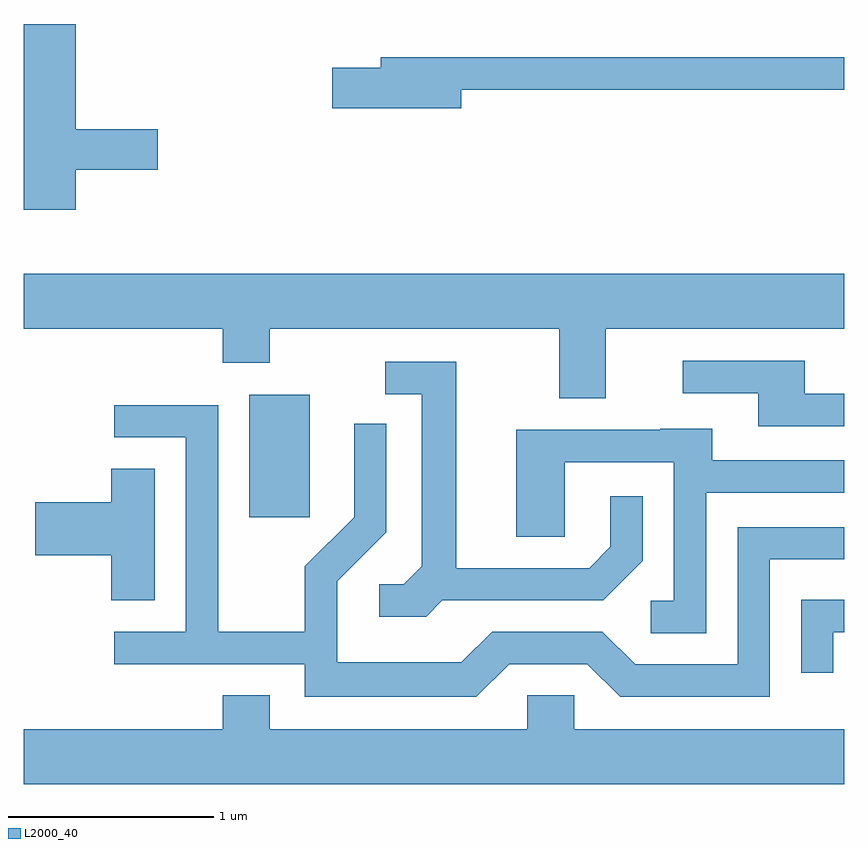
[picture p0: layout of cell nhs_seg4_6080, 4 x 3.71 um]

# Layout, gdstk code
import gdstk
lib = gdstk.Library(unit=1e-6, precision=1e-09)
def R(c, l, rs):  # rectangles x0, y0, x1, y1
    for r in rs: c.add(gdstk.rectangle(r[:2], r[2:], *l))
def P(c, l, *ps):  # polygons
    for p in ps: c.add(gdstk.Polygon(p, *l))
L2000_40 = (2000, 40)

nhs_seg4_6080 = lib.new_cell('nhs_seg4_6080')
R(nhs_seg4_6080, L2000_40, [(364.711,1311.576,365.004,1312.174)])
P(nhs_seg4_6080, L2000_40, [(363.864,1313.271),(364.264,1313.271),(364.264,1313.469),(363.864,1313.469),(363.864,1313.982),(363.611,1313.982),(363.611,1313.076),(363.864,1313.076)],
  [(365.744,1313.661),(367.611,1313.661),(367.611,1313.819),(365.351,1313.819),(365.351,1313.769),(365.116,1313.769),(365.116,1313.571),(365.744,1313.571)],
  [(366.449,1312.496),(367.611,1312.496),(367.611,1312.764),(363.611,1312.764),(363.611,1312.496),(364.581,1312.496),(364.581,1312.331),(364.809,1312.331),(364.809,1312.496),(366.221,1312.496),(366.221,1312.156),(366.449,1312.156)],
  [(367.611,1312.179),(367.419,1312.179),(367.419,1312.339),(366.823,1312.339),(366.823,1312.181),(367.191,1312.181),(367.191,1312.021),(367.611,1312.021)],
  [(365.652,1311.171),(366.437,1311.171),(366.629,1311.364),(366.629,1311.678),(366.471,1311.678),(366.471,1311.432),(366.369,1311.329),(365.719,1311.329),(365.719,1312.334),(365.373,1312.334),(365.373,1312.176),(365.551,1312.176),(365.551,1311.337),(365.464,1311.249),(365.343,1311.249),(365.343,1311.091),(365.572,1311.091)],
  [(365.977,1310.861),(366.359,1310.861),(366.519,1310.701),(367.249,1310.701),(367.249,1311.371),(367.611,1311.371),(367.611,1311.529),(367.091,1311.529),(367.091,1310.859),(366.592,1310.859),(366.432,1311.019),(365.894,1311.019),(365.744,1310.869),(365.139,1310.869),(365.139,1311.264),(365.379,1311.504),(365.379,1312.033),(365.221,1312.033),(365.221,1311.577),(364.981,1311.337),(364.981,1311.019),(364.559,1311.019),(364.559,1312.124),(364.053,1312.124),(364.053,1311.966),(364.401,1311.966),(364.401,1311.019),(364.053,1311.019),(364.053,1310.861),(364.981,1310.861),(364.981,1310.701),(365.817,1310.701)],
  [(366.939,1311.696),(367.611,1311.696),(367.611,1311.854),(366.969,1311.854),(366.969,1312.009),(366.715,1312.009),(366.715,1312.004),(366.011,1312.004),(366.011,1311.481),(366.249,1311.481),(366.249,1311.846),(366.781,1311.846),(366.781,1311.169),(366.668,1311.169),(366.668,1311.011),(366.939,1311.011)],
  [(364.249,1311.814),(364.036,1311.814),(364.036,1311.649),(363.666,1311.649),(363.666,1311.391),(364.036,1311.391),(364.036,1311.171),(364.249,1311.171)],
  [(367.559,1311.016),(367.611,1311.016),(367.611,1311.174),(367.401,1311.174),(367.401,1310.818),(367.559,1310.818)],
  [(367.611,1310.544),(366.294,1310.544),(366.294,1310.709),(366.066,1310.709),(366.066,1310.544),(364.809,1310.544),(364.809,1310.709),(364.581,1310.709),(364.581,1310.544),(363.611,1310.544),(363.611,1310.276),(367.611,1310.276)])

lib.write_gds('nhs_seg4_6080.gds')
